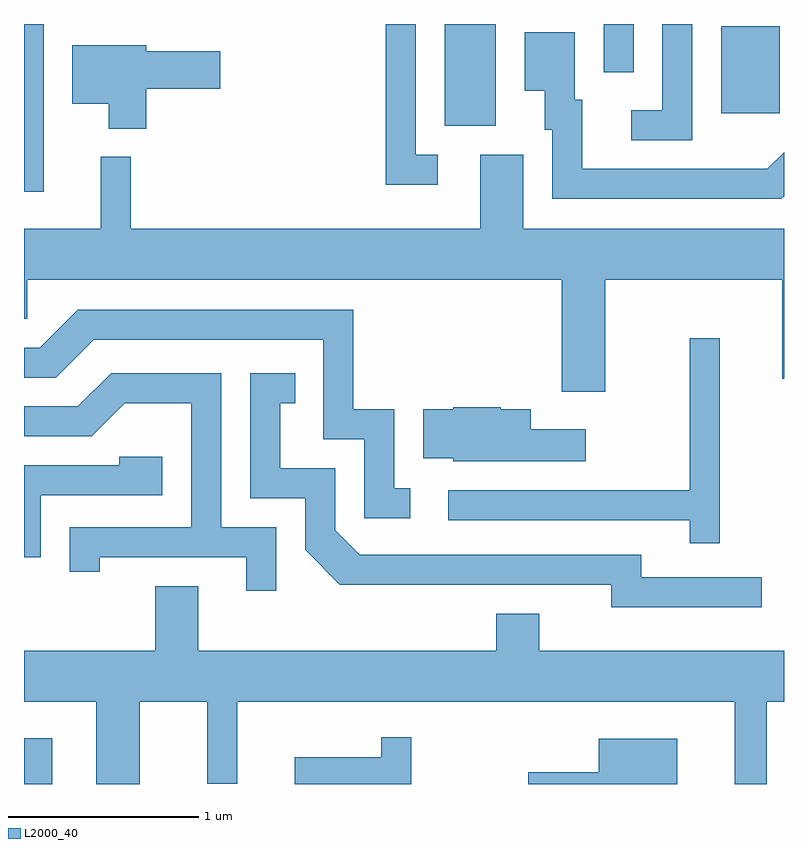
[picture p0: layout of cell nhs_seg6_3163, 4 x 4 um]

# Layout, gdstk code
import gdstk
lib = gdstk.Library(unit=1e-6, precision=1e-09)
def R(c, l, rs):  # rectangles x0, y0, x1, y1
    for r in rs: c.add(gdstk.rectangle(r[:2], r[2:], *l))
def P(c, l, *ps):  # polygons
    for p in ps: c.add(gdstk.Polygon(p, *l))
L2000_40 = (2000, 40)

nhs_seg6_3163 = lib.new_cell('nhs_seg6_3163')
R(nhs_seg6_3163, L2000_40, [(279.611,1656.162,279.759,1656.404), (279.611,1659.278,279.714,1660.162), (281.826,1659.626,282.094,1660.162), (283.281,1659.691,283.589,1660.149), (282.661,1659.908,282.819,1660.162)])
P(nhs_seg6_3163, L2000_40, [(283.129,1660.162),(282.971,1660.162),(282.971,1659.709),(282.808,1659.709),(282.808,1659.551),(283.129,1659.551)],
  [(281.788,1659.474),(281.674,1659.474),(281.674,1660.162),(281.516,1660.162),(281.516,1659.316),(281.788,1659.316)],
  [(283.611,1659.255),(283.611,1659.486),(283.524,1659.399),(282.549,1659.399),(282.549,1659.764),(282.509,1659.764),(282.509,1660.119),(282.246,1660.119),(282.246,1659.811),(282.351,1659.811),(282.351,1659.606),(282.391,1659.606),(282.391,1659.241),(283.597,1659.241)],
  [(280.254,1659.821),(280.644,1659.821),(280.644,1660.019),(280.254,1660.019),(280.254,1660.049),(279.866,1660.049),(279.866,1659.741),(280.056,1659.741),(280.056,1659.611),(280.254,1659.611)],
  [(282.669,1658.816),(283.601,1658.816),(283.601,1658.296),(283.611,1658.296),(283.611,1659.084),(282.239,1659.084),(282.239,1659.474),(282.011,1659.474),(282.011,1659.084),(280.174,1659.084),(280.174,1659.463),(280.016,1659.463),(280.016,1659.084),(279.611,1659.084),(279.611,1658.611),(279.629,1658.611),(279.629,1658.816),(282.441,1658.816),(282.441,1658.226),(282.669,1658.226)],
  [(281.643,1657.719),(281.559,1657.719),(281.559,1658.134),(281.344,1658.134),(281.344,1658.659),(279.894,1658.659),(279.694,1658.459),(279.611,1658.459),(279.611,1658.301),(279.777,1658.301),(279.977,1658.501),(281.186,1658.501),(281.186,1657.976),(281.401,1657.976),(281.401,1657.561),(281.643,1657.561)],
  [(283.274,1658.508),(283.116,1658.508),(283.116,1657.709),(281.843,1657.709),(281.843,1657.551),(283.116,1657.551),(283.116,1657.428),(283.274,1657.428)],
  [(280.939,1657.514),(280.649,1657.514),(280.649,1658.324),(280.069,1658.324),(279.894,1658.149),(279.611,1658.149),(279.611,1657.991),(279.967,1657.991),(280.142,1658.166),(280.491,1658.166),(280.491,1657.514),(279.851,1657.514),(279.851,1657.278),(280.009,1657.278),(280.009,1657.356),(280.781,1657.356),(280.781,1657.178),(280.939,1657.178)],
  [(283.493,1657.249),(282.859,1657.249),(282.859,1657.369),(281.377,1657.369),(281.249,1657.497),(281.249,1657.824),(280.959,1657.824),(280.959,1658.166),(281.038,1658.166),(281.038,1658.324),(280.801,1658.324),(280.801,1657.666),(281.091,1657.666),(281.091,1657.394),(281.274,1657.211),(282.701,1657.211),(282.701,1657.091),(283.493,1657.091)],
  [(282.568,1658.029),(282.279,1658.029),(282.279,1658.134),(282.12,1658.134),(282.12,1658.144),(281.87,1658.144),(281.87,1658.134),(281.711,1658.134),(281.711,1657.876),(281.87,1657.876),(281.87,1657.861),(282.568,1657.861)],
  [(279.699,1657.681),(280.339,1657.681),(280.339,1657.884),(280.111,1657.884),(280.111,1657.839),(279.611,1657.839),(279.611,1657.356),(279.699,1657.356)],
  [(280.219,1656.596),(280.576,1656.596),(280.576,1656.163),(280.734,1656.163),(280.734,1656.596),(283.351,1656.596),(283.351,1656.162),(283.519,1656.162),(283.519,1656.596),(283.611,1656.596),(283.611,1656.864),(282.324,1656.864),(282.324,1657.059),(282.096,1657.059),(282.096,1656.864),(280.529,1656.864),(280.529,1657.204),(280.301,1657.204),(280.301,1656.864),(279.611,1656.864),(279.611,1656.596),(279.991,1656.596),(279.991,1656.162),(280.219,1656.162)],
  [(281.649,1656.408),(281.491,1656.408),(281.491,1656.304),(281.036,1656.304),(281.036,1656.162),(281.649,1656.162)],
  [(283.049,1656.399),(282.636,1656.399),(282.636,1656.224),(282.266,1656.224),(282.266,1656.162),(283.049,1656.162)])

lib.write_gds('nhs_seg6_3163.gds')
